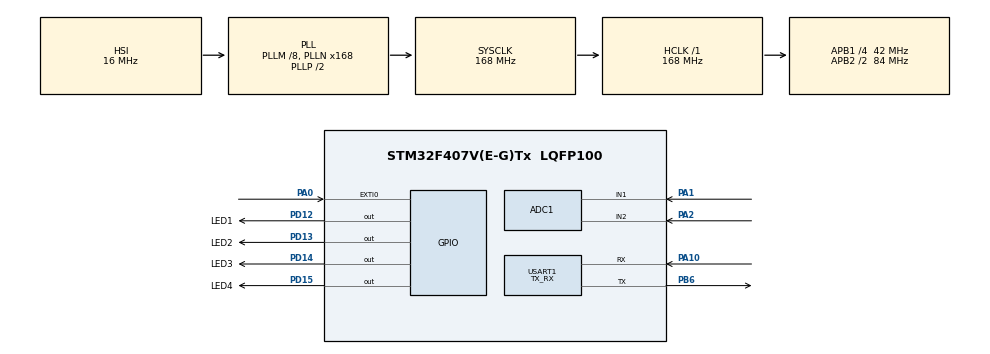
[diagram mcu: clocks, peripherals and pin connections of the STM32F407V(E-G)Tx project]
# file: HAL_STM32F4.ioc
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ADC1.Channel-0\#ChannelRegularConversion=ADC_CHANNEL_1
ADC1.Channel-1\#ChannelRegularConversion=ADC_CHANNEL_2
ADC1.ContinuousConvMode=ENABLE
ADC1.EOCSelection=ADC_EOC_SINGLE_CONV
ADC1.EnableAnalogWatchDog=false
ADC1.InjNumberOfConversion=0
ADC1.NbrOfConversion=2
ADC1.NbrOfConversionFlag=1
ADC1.Rank-0\#ChannelRegularConversion=1
ADC1.Rank-1\#ChannelRegularConversion=2
ADC1.SamplingTime-0\#ChannelRegularConversion=ADC_SAMPLETIME_84CYCLES
ADC1.SamplingTime-1\#ChannelRegularConversion=ADC_SAMPLETIME_480CYCLES
ADC1.ScanConvMode=ENABLE
ADC1.master=1
Mcu.Family=STM32F4
Mcu.Name=STM32F407V(E-G)Tx
Mcu.Package=LQFP100
NVIC.EXTI0_IRQn=true\:3\:0\:true\:false\:true\:true\:true\:true
NVIC.PriorityGroup=NVIC_PRIORITYGROUP_4
PA0-WKUP.Signal=GPXTI0
PA1.Signal=ADCx_IN1
PA10.Mode=Asynchronous
PA10.Signal=USART1_RX
PA13.Mode=Serial_Wire
PA13.Signal=SYS_JTMS-SWDIO
PA14.Mode=Serial_Wire
PA14.Signal=SYS_JTCK-SWCLK
PA2.Signal=ADCx_IN2
PB6.Mode=Asynchronous
PB6.Signal=USART1_TX
PD12.GPIO_Label=LED1
PD12.GPIO_ModeDefaultOutputPP=GPIO_MODE_OUTPUT_PP
PD12.GPIO_Speed=GPIO_SPEED_FREQ_VERY_HIGH
PD12.PinState=GPIO_PIN_RESET
PD12.Signal=GPIO_Output
PD13.GPIO_Label=LED2
PD13.Signal=GPIO_Output
PD14.GPIO_Label=LED3
PD14.Signal=GPIO_Output
PD15.GPIO_Label=LED4
PD15.GPIO_Speed=GPIO_SPEED_FREQ_VERY_HIGH
PD15.Signal=GPIO_Output
PH0-OSC_IN.Mode=HSE-External-Oscillator
PH0-OSC_IN.Signal=RCC_OSC_IN
PH1-OSC_OUT.Mode=HSE-External-Oscillator
PH1-OSC_OUT.Signal=RCC_OSC_OUT
ProjectManager.HeapSize=0x800
ProjectManager.StackSize=0x800
ProjectManager.TargetToolchain=STM32CubeIDE
RCC.48MHZClocksFreq_Value=48000000
RCC.AHBFreq_Value=168000000
RCC.APB1CLKDivider=RCC_HCLK_DIV4
RCC.APB1Freq_Value=42000000
RCC.APB1TimFreq_Value=84000000
RCC.APB2CLKDivider=RCC_HCLK_DIV2
RCC.APB2Freq_Value=84000000
RCC.APB2TimFreq_Value=168000000
RCC.CortexFreq_Value=168000000
RCC.HCLKFreq_Value=168000000
RCC.HSE_VALUE=8000000
RCC.HSI_VALUE=16000000
RCC.LSE_VALUE=32768
RCC.PLLM=8
RCC.PLLN=168
RCC.PLLQ=7
RCC.SYSCLKFreq_VALUE=168000000
RCC.SYSCLKSource=RCC_SYSCLKSOURCE_PLLCLK
RCC.VCOOutputFreq_Value=336000000
SH.ADCx_IN1.0=ADC1_IN1,IN1
SH.ADCx_IN2.0=ADC1_IN2,IN2
STMicroelectronics.X-CUBE-AI.7.1.0.HeapSize=0x800
STMicroelectronics.X-CUBE-AI.7.1.0.ModelActualCompression-3081d5d3b91294dcb1bd10021307ff9c5f99a9243abc3b7faf6966edbd22d5cc=0.0
STMicroelectronics.X-CUBE-AI.7.1.0.ModelCompression-3081d5d3b91294dcb1bd10021307ff9c5f99a9243abc3b7faf6966edbd22d5cc=1
STMicroelectronics.X-CUBE-AI.7.1.0.ModelFlashOccupation-3081d5d3b91294dcb1bd10021307ff9c5f99a9243abc3b7faf6966edbd22d5cc=0
STMicroelectronics.X-CUBE-AI.7.1.0.ModelHashList=3081d5d3b91294dcb1bd10021307ff9c5f99a9243abc3b7faf6966edbd22d5cc
STMicroelectronics.X-CUBE-AI.7.1.0.ModelKind-3081d5d3b91294dcb1bd10021307ff9c5f99a9243abc3b7faf6966edbd22d5cc=KERAS
STMicroelectronics.X-CUBE-AI.7.1.0.ModelMacc-3081d5d3b91294dcb1bd10021307ff9c5f99a9243abc3b7faf6966edbd22d5cc=0
STMicroelectronics.X-CUBE-AI.7.1.0.ModelName-3081d5d3b91294dcb1bd10021307ff9c5f99a9243abc3b7faf6966edbd22d5cc=network
STMicroelectronics.X-CUBE-AI.7.1.0.ModelNameList=network
STMicroelectronics.X-CUBE-AI.7.1.0.ModelRamOccupation-3081d5d3b91294dcb1bd10021307ff9c5f99a9243abc3b7faf6966edbd22d5cc=0
STMicroelectronics.X-CUBE-AI.7.1.0.ModelType-3081d5d3b91294dcb1bd10021307ff9c5f99a9243abc3b7faf6966edbd22d5cc=Saved model
STMicroelectronics.X-CUBE-AI.7.1.0.ReadyForCodeGeneration=false
STMicroelectronics.X-CUBE-AI.7.1.0.StackSize=0x800
STMicroelectronics.X-CUBE-AI.7.1.0.WorkingBufferStartAddrList=0xFFFFFFFF
STMicroelectronics.X-CUBE-TOUCHGFX.4.20.0.tgfx_buffering_strategy=Partial
STMicroelectronics.X-CUBE-TOUCHGFX.4.20.0.tgfx_oswrapper=Custom
STMicroelectronics.X-CUBE-TOUCHGFX.4.20.0_IsPackSelfContextualization=true
USART1.Mode=MODE_TX_RX
USART1.VirtualMode=VM_ASYNC
VP_CRC_VS_CRC.Mode=CRC_Activate
board=STM32F407G-DISC1

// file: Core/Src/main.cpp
/* USER CODE BEGIN Header */
/**
  ******************************************************************************
  * @file           : main.c
  * @brief          : Main program body
  ******************************************************************************
  * @attention
  *
  * Copyright (c) 2022 STMicroelectronics.
  * All rights reserved.
  *
  * This software is licensed under terms that can be found in the LICENSE file
  * in the root directory of this software component.
  * If no LICENSE file comes with this software, it is provided AS-IS.
  *
  ******************************************************************************
  */
/* USER CODE END Header */
#include "main.h"
#include "adc.h"
#include "crc.h"
#include "usart.h"
#include "gpio.h"

/* USER CODE BEGIN Includes */
#include <stdio.h>
#include <string>
#include "ArduinoJson.h"
/* USER CODE END Includes */

/* USER CODE BEGIN PTD */
using namespace std;
/* USER CODE END PTD */

void SystemClock_Config(void);

/* USER CODE BEGIN 0 */
void send_data_uart_json(string ack = "OK");
/* USER CODE END 0 */

int main(void)
{

  /* MCU Configuration--------------------------------------------------------*/

  /* Reset of all peripherals, Initializes the Flash interface and the Systick. */
  HAL_Init();

  /* Configure the system clock */
  SystemClock_Config();

  /* Initialize all configured peripherals */
  MX_GPIO_Init();
  MX_USART1_UART_Init();
  MX_ADC1_Init();
  MX_CRC_Init();
  /* USER CODE BEGIN 2 */
  send_data_uart_json();
  /* USER CODE END 2 */

  /* Infinite loop */
  while (1)
  {

    /* USER CODE BEGIN 3 */
	  //LL_GPIO_TogglePin(GPIOD, GPIO_PIN_13);
	  HAL_GPIO_TogglePin(LED1_GPIO_Port, LED1_Pin);
	  HAL_Delay(1000);
	  send_data_uart_json("WHILE");

  }
  /* USER CODE END 3 */
}

void SystemClock_Config(void)
{
  RCC_OscInitTypeDef RCC_OscInitStruct = {0};
  RCC_ClkInitTypeDef RCC_ClkInitStruct = {0};

  /** Configure the main internal regulator output voltage
  */
  __HAL_RCC_PWR_CLK_ENABLE();
  __HAL_PWR_VOLTAGESCALING_CONFIG(PWR_REGULATOR_VOLTAGE_SCALE1);

  /** Initializes the RCC Oscillators according to the specified parameters
  * in the RCC_OscInitTypeDef structure.
  */
  RCC_OscInitStruct.OscillatorType = RCC_OSCILLATORTYPE_HSI;
  RCC_OscInitStruct.HSIState = RCC_HSI_ON;
  RCC_OscInitStruct.HSICalibrationValue = RCC_HSICALIBRATION_DEFAULT;
  RCC_OscInitStruct.PLL.PLLState = RCC_PLL_ON;
  RCC_OscInitStruct.PLL.PLLSource = RCC_PLLSOURCE_HSI;
  RCC_OscInitStruct.PLL.PLLM = 8;
  RCC_OscInitStruct.PLL.PLLN = 168;
  RCC_OscInitStruct.PLL.PLLP = RCC_PLLP_DIV2;
  RCC_OscInitStruct.PLL.PLLQ = 7;
  if (HAL_RCC_OscConfig(&RCC_OscInitStruct) != HAL_OK)
  {
    Error_Handler();
  }

  /** Initializes the CPU, AHB and APB buses clocks
  */
  RCC_ClkInitStruct.ClockType = RCC_CLOCKTYPE_HCLK|RCC_CLOCKTYPE_SYSCLK
                              |RCC_CLOCKTYPE_PCLK1|RCC_CLOCKTYPE_PCLK2;
  RCC_ClkInitStruct.SYSCLKSource = RCC_SYSCLKSOURCE_PLLCLK;
  RCC_ClkInitStruct.AHBCLKDivider = RCC_SYSCLK_DIV1;
  RCC_ClkInitStruct.APB1CLKDivider = RCC_HCLK_DIV4;
  RCC_ClkInitStruct.APB2CLKDivider = RCC_HCLK_DIV2;

  if (HAL_RCC_ClockConfig(&RCC_ClkInitStruct, FLASH_LATENCY_5) != HAL_OK)
  {
    Error_Handler();
  }
}

/* USER CODE BEGIN 4 */
void send_data_uart_json(string ack){
	StaticJsonDocument<200> doc;

	doc["NAME"] = "STM32F407-DISC1";
	doc["ID"] = 121322323;
	doc["TEMP"] = 12.2;
	doc["BAT"] = 3554;
	doc["ACK"] = ack;

	string output;
	string out;

	serializeJson(doc, output); //para la transmision

	serializeJsonPretty(doc, out);
	HAL_UART_Transmit(&huart1,(uint8_t*) out.c_str(), out.length(), 1000);

	return;
}
/* USER CODE END 4 */

void Error_Handler(void)
{
  __disable_irq();
  while (1)
  {
  }
}
